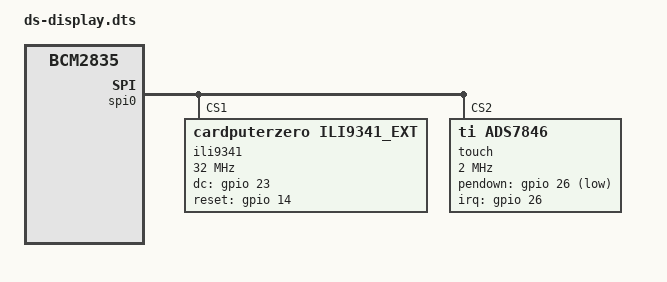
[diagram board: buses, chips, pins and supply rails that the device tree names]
/*
 * CardputerZero DS化: 外付け 2.8" ILI9341 (SPI0 CE1) + XPT2046 タッチ (SPI0 CS2=G22)
 *
 * EXT 配線:
 *   LCD CS   <- G7 (CE1)      LCD DC  <- G23      LCD RESET <- G14
 *   LCD SCK  <- G11           LCD SDI <- G10      LCD SDO   :  未接続
 *   T_CLK    <- G11           T_DIN   <- G10      T_DO      <- G9
 *   T_CS     <- G22 (CS2)     T_IRQ   <- G26
 *   VCC/LED  <- 5V OUT        GND     <- G
 */
/dts-v1/;
/plugin/;
/ {
    compatible = "brcm,bcm2835";

    fragment@0 {                       /* CE1 の spidev を外す */
        target = <&spidev1>;
        __overlay__ { status = "disabled"; };
    };

    fragment@1 {
        target = <&gpio>;
        __overlay__ {
            ds_touch_pins: ds_touch_pins {
                brcm,pins = <26>;
                brcm,function = <0>;   /* input */
                brcm,pull = <2>;       /* pull-up */
            };
        };
    };

    fragment@2 {
        target = <&spi0>;
        __overlay__ {
            #address-cells = <1>;
            #size-cells = <0>;

            ili9341@1 {
                /* 1つ目の compatible が /lib/firmware/<名前>.bin の初期化データ名になる。
                   2つ目は M5 版 panel-mipi-dbi ドライバに合わせる(標準版を読ませない) */
                compatible = "cardputerzero,ili9341_ext", "panel-mipi-dbi-m5stack";
                reg = <1>;
                spi-max-frequency = <32000000>;
                dc-gpios = <&gpio 23 0>;
                /* mipi-dbi は reset を active-high 表記で扱う(0 が正しい) */
                reset-gpios = <&gpio 14 0>;
                write-only;
                format = "r5g6b5";
                width-mm = <58>;
                height-mm = <43>;
                panel-timing {
                    hactive = <320>; vactive = <240>;
                    hback-porch = <0>; vback-porch = <0>;
                    hfront-porch = <0>; vfront-porch = <0>;
                    hsync-len = <0>; vsync-len = <0>;
                    clock-frequency = <0>;
                };
            };

            touch@2 {
                compatible = "ti,ads7846";
                reg = <2>;
                spi-max-frequency = <2000000>;
                pinctrl-names = "default";
                pinctrl-0 = <&ds_touch_pins>;
                interrupt-parent = <&gpio>;
                interrupts = <26 2>;
                pendown-gpio = <&gpio 26 1>;
                ti,x-plate-ohms = /bits/ 16 <60>;
                ti,pressure-max = /bits/ 16 <255>;
            };
        };
    };

    fragment@3 {                       /* EXT の 5V 出力を起動時に ON */
        target-path = "/leds/ext_5v_out";
        __overlay__ { default-state = "on"; };
    };
};
